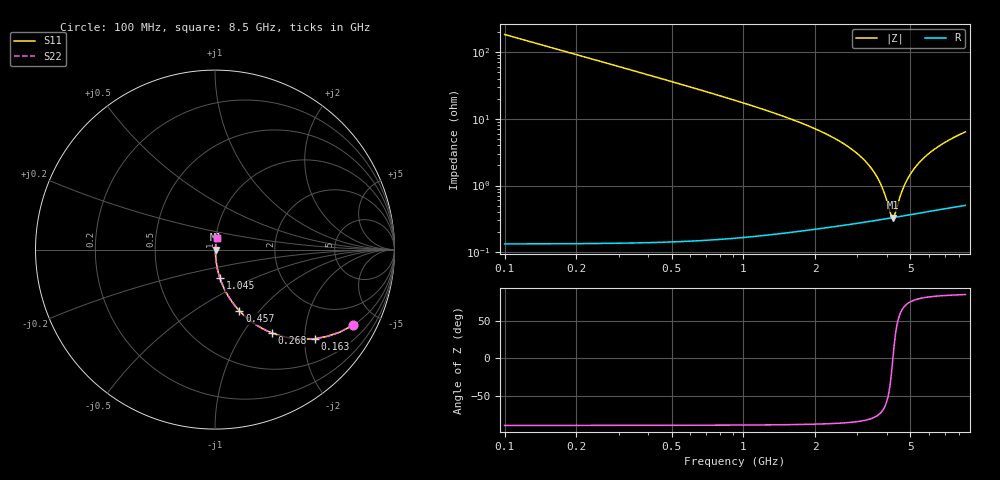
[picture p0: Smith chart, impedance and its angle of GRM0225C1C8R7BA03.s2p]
!Murata Part Number: GRM0225C1C8R7BA03
!These Parameters are Measured in Series Mode Connection
!Data Generated on Mar 30, 2021
!  o--ll--o
!Port1  Port2
!  o------o
!Operation Temp=25[degC], DC Bias Voltage=0[V]
!Freq. Start=100[MHz] Stop=9[GHz] 401[Steps]
# Hz S RI R 50
!Freq.(Hz) S11(Real) S11(Imag) S21(Real) S21(Imag) S12(Real) S12(Imag) S22(Real) S22(Imag)
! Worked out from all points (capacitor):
!   401 points, 100 MHz to 8.5 GHz, reference 50 ohm
!   read as one part in series: C = 8.7 pF near 142 MHz
!   lowest |Z| = 330 mohm at 4.216 GHz (marker M1)
!   series resonance near 4.226 GHz, so ESL is about 160 pH
!   S11 on the Smith chart (normalised r, x): 100 MHz: 1.00, -3.66; 163 MHz: 1.00, -2.24; 268 MHz: 1.00, -1.36; 457 MHz: 1.00, -0.79; 1.045 GHz: 1.00, -0.33; 8.5 GHz: 1.01, +0.13
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1e8  0.7696 -0.4208  0.2304 0.4208  0.2304 0.4208  0.7696 -0.4208
1.63e8  0.5566 -0.4962  0.4434 0.4962  0.4434 0.4962  0.5566 -0.4962
2.68e8  0.3163 -0.464  0.6837 0.464  0.6837 0.464  0.3163 -0.464
3.52e8  0.2108 -0.4066  0.7892 0.4066  0.7892 0.4066  0.2108 -0.4066
4.57e8  0.1361 -0.3411  0.8639 0.3411  0.8639 0.3411  0.1361 -0.3411
6.88e8  0.0639 -0.2416  0.9361 0.2416  0.9361 0.2416  0.0639 -0.2416
1.045e9  0.0277 -0.159  0.9723 0.159  0.9723 0.159  0.0277 -0.159
1.507e9  0.0129 -0.1038  0.9871 0.1038  0.9871 0.1038  0.0129 -0.1038
2.914e9  0.00372 -0.0323  0.9963 0.0323  0.9963 0.0323  0.00372 -0.0323
3.313e9  0.0033 -0.0209  0.9967 0.0209  0.9967 0.0209  0.0033 -0.0209
3.628e9  0.00318 -0.013  0.9968 0.013  0.9968 0.013  0.00318 -0.013
3.88e9  0.00318 -0.00724  0.9968 0.00724  0.9968 0.00724  0.00318 -0.00724
4.132e9  0.00325 -0.0019  0.9968 0.0019  0.9968 0.0019  0.00325 -0.0019
4.216e9  0.00328 -0.000195  0.9967 0.000195  0.9967 0.000195  0.00328 -0.000195
4.3e9  0.00332 0.00147  0.9967 -0.00147  0.9967 -0.00147  0.00332 0.00147
4.573e9  0.00349 0.00667  0.9965 -0.00667  0.9965 -0.00667  0.00349 0.00667
4.846e9  0.0037 0.0116  0.9963 -0.0116  0.9963 -0.0116  0.0037 0.0116
5.224e9  0.00406 0.018  0.9959 -0.018  0.9959 -0.018  0.00406 0.018
5.707e9  0.00461 0.0256  0.9954 -0.0256  0.9954 -0.0256  0.00461 0.0256
6.337e9  0.00543 0.0348  0.9946 -0.0348  0.9946 -0.0348  0.00543 0.0348
7.114e9  0.00659 0.0453  0.9934 -0.0453  0.9934 -0.0453  0.00659 0.0453
8.5e9  0.00895 0.0625  0.991 -0.0625  0.991 -0.0625  0.00895 0.0625
